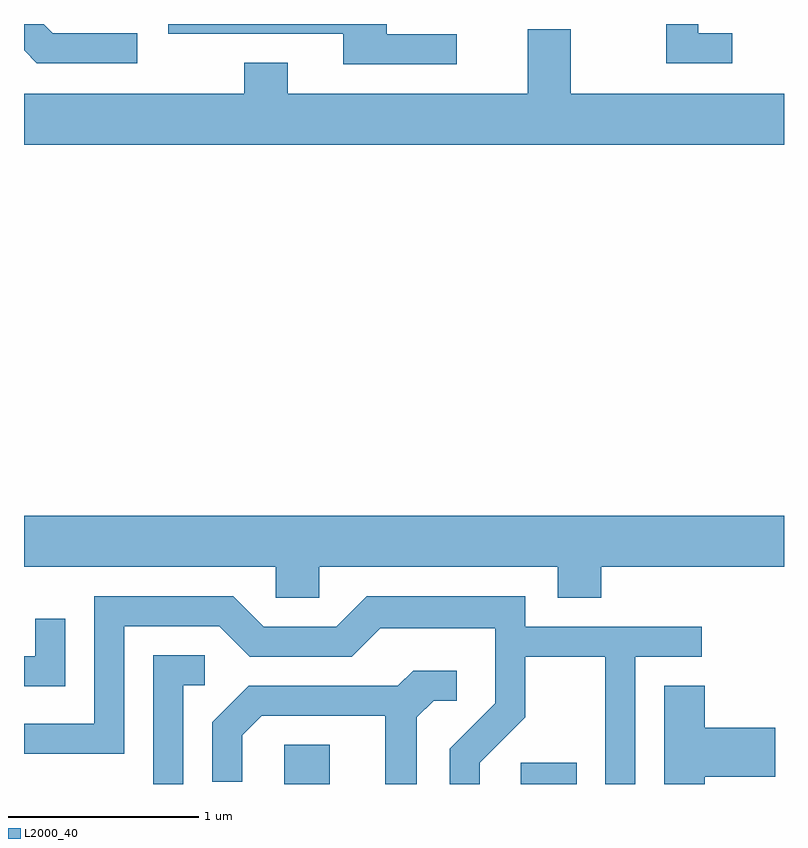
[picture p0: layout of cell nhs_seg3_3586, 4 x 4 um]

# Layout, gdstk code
import gdstk
lib = gdstk.Library(unit=1e-6, precision=1e-09)
def R(c, l, rs):  # rectangles x0, y0, x1, y1
    for r in rs: c.add(gdstk.rectangle(r[:2], r[2:], *l))
def P(c, l, *ps):  # polygons
    for p in ps: c.add(gdstk.Polygon(p, *l))
L2000_40 = (2000, 40)

nhs_seg3_3586 = lib.new_cell('nhs_seg3_3586')
R(nhs_seg3_3586, L2000_40, [(290.981,1215.892,291.219,1216.099), (292.226,1215.892,292.519,1216.004)])
P(nhs_seg3_3586, L2000_40, [(290.208,1219.844),(289.762,1219.844),(289.714,1219.892),(289.611,1219.892),(289.611,1219.754),(289.679,1219.686),(290.208,1219.686)],
  [(291.888,1219.839),(291.519,1219.839),(291.519,1219.892),(290.371,1219.892),(290.371,1219.841),(291.291,1219.841),(291.291,1219.681),(291.888,1219.681)],
  [(293.338,1219.844),(293.159,1219.844),(293.159,1219.892),(292.991,1219.892),(292.991,1219.686),(293.338,1219.686)],
  [(293.611,1219.524),(292.489,1219.524),(292.489,1219.864),(292.261,1219.864),(292.261,1219.524),(290.999,1219.524),(290.999,1219.689),(290.771,1219.689),(290.771,1219.524),(289.611,1219.524),(289.611,1219.256),(293.611,1219.256)],
  [(291.164,1217.036),(292.421,1217.036),(292.421,1216.871),(292.649,1216.871),(292.649,1217.036),(293.611,1217.036),(293.611,1217.304),(289.611,1217.304),(289.611,1217.036),(290.936,1217.036),(290.936,1216.871),(291.164,1216.871)],
  [(292.009,1216.004),(292.249,1216.244),(292.249,1216.561),(292.671,1216.561),(292.671,1215.892),(292.829,1215.892),(292.829,1216.561),(293.178,1216.561),(293.178,1216.719),(292.249,1216.719),(292.249,1216.879),(291.414,1216.879),(291.254,1216.719),(290.872,1216.719),(290.712,1216.879),(289.981,1216.879),(289.981,1216.209),(289.611,1216.209),(289.611,1216.051),(290.139,1216.051),(290.139,1216.721),(290.639,1216.721),(290.799,1216.561),(291.337,1216.561),(291.487,1216.711),(292.091,1216.711),(292.091,1216.317),(291.851,1216.077),(291.851,1215.892),(292.009,1215.892)],
  [(289.829,1216.763),(289.671,1216.763),(289.671,1216.564),(289.611,1216.564),(289.611,1216.406),(289.829,1216.406)],
  [(290.449,1216.411),(290.563,1216.411),(290.563,1216.569),(290.291,1216.569),(290.291,1215.892),(290.449,1215.892)],
  [(291.679,1216.244),(291.767,1216.331),(291.888,1216.331),(291.888,1216.489),(291.659,1216.489),(291.579,1216.409),(290.794,1216.409),(290.601,1216.217),(290.601,1215.903),(290.759,1215.903),(290.759,1216.149),(290.862,1216.251),(291.511,1216.251),(291.511,1215.892),(291.679,1215.892)],
  [(293.194,1215.931),(293.564,1215.931),(293.564,1216.189),(293.194,1216.189),(293.194,1216.409),(292.981,1216.409),(292.981,1215.892),(293.194,1215.892)])

lib.write_gds('nhs_seg3_3586.gds')
